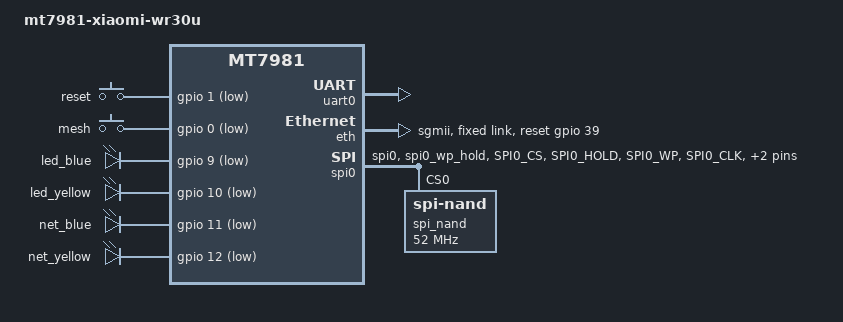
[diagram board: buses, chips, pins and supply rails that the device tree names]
/dts-v1/;
#include "mt7981.dtsi"
#include <dt-bindings/gpio/gpio.h>

/ {
	#address-cells = <1>;
	#size-cells = <1>;
	model = "mt7981-xiaomi-wr30u";
	compatible = "mediatek,mt7981", "mediatek,mt7981-rfb";

	chosen {
		stdout-path = &uart0;
		tick-timer = &timer0;
	};

	config {
		bootcmd = "mtkboardboot";
		blink_led = "led_yellow";
		system_led = "led_blue";
	};

	gpio-keys {
		compatible = "gpio-keys";

		reset-button {
			label = "reset";
			gpios = <&gpio 1 GPIO_ACTIVE_LOW>;
		};

		mesh-button {
			label = "mesh";
			gpios = <&gpio 0 GPIO_ACTIVE_LOW>;
		};
	};

	leds {
		compatible = "gpio-leds";

		led_sys_blue {
			label = "led_blue";
			gpios = <&gpio 9 GPIO_ACTIVE_LOW>;
		};

		led_sys_yellow {
			label = "led_yellow";
			gpios = <&gpio 10 GPIO_ACTIVE_LOW>;
	        };

		led_net_blue {
			label = "net_blue";
			gpios = <&gpio 11 GPIO_ACTIVE_LOW>;
		};

		led_net_yellow {
			label = "net_yellow";
			gpios = <&gpio 12 GPIO_ACTIVE_LOW>;
		};
	};
};

&uart0 {
	status = "okay";
};

&eth {
	status = "okay";
	mediatek,gmac-id = <0>;
	phy-mode = "sgmii";
	mediatek,switch = "mt7531";
	reset-gpios = <&gpio 39 GPIO_ACTIVE_HIGH>;

	fixed-link {
		speed = <1000>;
		full-duplex;
	};
};

&pinctrl {
	spi_flash_pins: spi0-pins-func-1 {
		mux {
			function = "flash";
			groups = "spi0", "spi0_wp_hold";
		};

		conf-pu {
			pins = "SPI0_CS", "SPI0_HOLD", "SPI0_WP";
			drive-strength = <MTK_DRIVE_8mA>;
			bias-pull-up = <MTK_PUPD_SET_R1R0_11>;
		};

		conf-pd {
			pins = "SPI0_CLK", "SPI0_MOSI", "SPI0_MISO";
			drive-strength = <MTK_DRIVE_8mA>;
			bias-pull-down = <MTK_PUPD_SET_R1R0_11>;
		};
	};
};

&spi0 {
	#address-cells = <1>;
	#size-cells = <0>;
	pinctrl-names = "default";
	pinctrl-0 = <&spi_flash_pins>;
	status = "okay";
	must_tx;
	enhance_timing;
	dma_ext;
	ipm_design;
	support_quad;
	tick_dly = <2>;
	sample_sel = <0>;

	spi_nand@0 {
		compatible = "spi-nand";
		reg = <0>;
		spi-max-frequency = <52000000>;
	};
};

&watchdog {
	status = "disabled";
};
